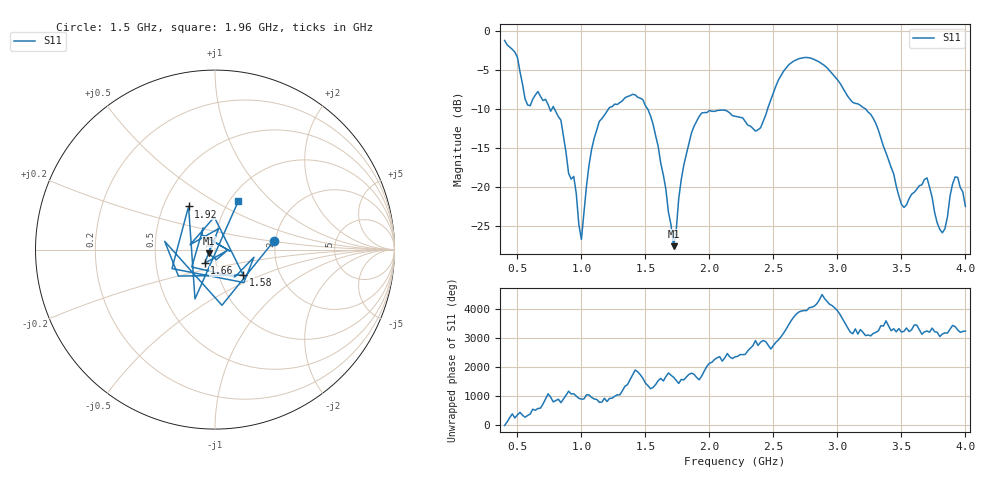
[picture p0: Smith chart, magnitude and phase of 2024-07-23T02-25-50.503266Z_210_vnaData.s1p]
!Created with skrf (http://scikit-rf.org).
# Hz S RI R 50.0
!freq ReS11 ImS11
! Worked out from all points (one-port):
!   181 points, 400 MHz to 4 GHz, reference 50 ohm
!   lowest |S11| = -27.6 dB at 1.72 GHz (marker M1), VSWR 1.09, Z = 46.5 - j1.95 ohm
!   |S11| at or under -10 dB: 788.7 MHz to 1.214 GHz (425 MHz wide, 42.5 % of centre); 1.516 GHz to 2.456 GHz (939.7 MHz wide, 47.3 % of centre); 3.217 GHz to end of sweep (the widest 3 of 4)
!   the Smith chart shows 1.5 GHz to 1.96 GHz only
!   S11 on the Smith chart (normalised r, x): 1.5 GHz: 1.96, +0.20; 1.58 GHz: 1.31, -0.39; 1.66 GHz: 0.88, -0.14; 1.92 GHz: 0.67, +0.35; 1.96 GHz: 1.10, +0.65
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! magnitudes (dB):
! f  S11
! 400 MHz  -1.3
! 500 MHz  -3.4
! 580 MHz  -9.5
! 660 MHz  -7.8
! 860 MHz  -13.6
! 900 MHz  -18.3
! 940 MHz  -18.7
! 1 GHz  -26.8
! 1.1 GHz  -13.8
! 1.3 GHz  -9.2
! 1.5 GHz  -9.6
! 1.58 GHz  -13.5
! 1.66 GHz  -20.3
! 1.72 GHz  -27.6
! 1.76 GHz  -21.6
! 1.92 GHz  -11.0
! 1.96 GHz  -10.5
! 2.2 GHz  -11.0
! 2.4 GHz  -12.5
! 2.66 GHz  -3.9
! 3.1 GHz  -8.8
! 3.28 GHz  -11.2
! 3.5 GHz  -22.2
! 3.56 GHz  -21.5
! 3.7 GHz  -18.9
! 3.82 GHz  -25.9
! 3.92 GHz  -18.7
! 4 GHz  -22.5
